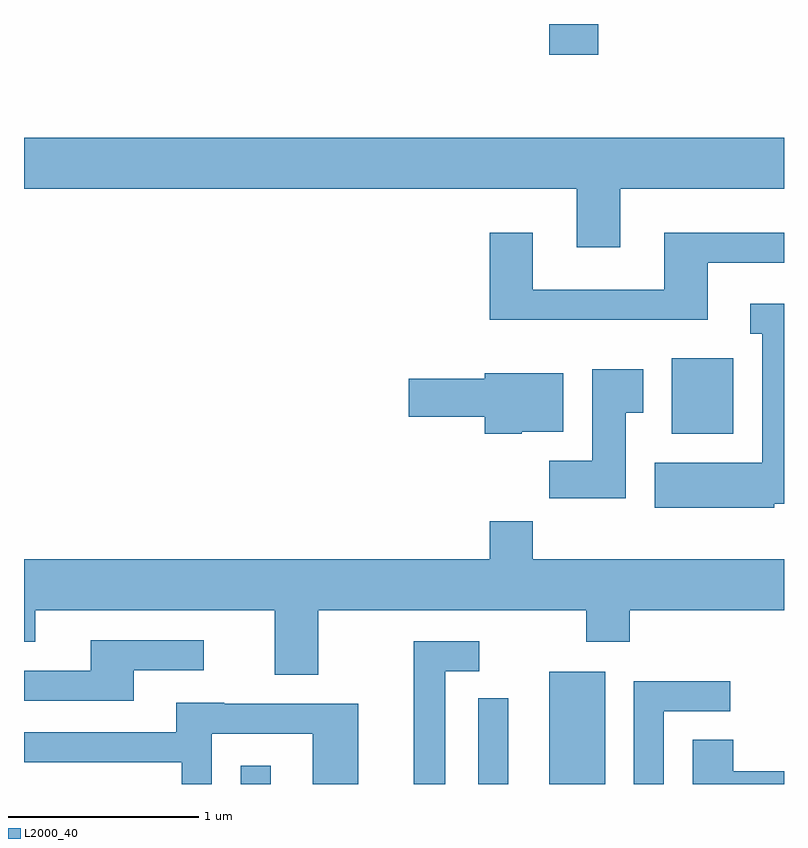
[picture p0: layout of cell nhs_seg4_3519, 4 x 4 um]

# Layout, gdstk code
import gdstk
lib = gdstk.Library(unit=1e-6, precision=1e-09)
def R(c, l, rs):  # rectangles x0, y0, x1, y1
    for r in rs: c.add(gdstk.rectangle(r[:2], r[2:], *l))
def P(c, l, *ps):  # polygons
    for p in ps: c.add(gdstk.Polygon(p, *l))
L2000_40 = (2000, 40)

nhs_seg4_3519 = lib.new_cell('nhs_seg4_3519')
R(nhs_seg4_3519, L2000_40, [(288.751,1355.982,288.909,1356.078), (290.001,1355.982,290.159,1356.433), (290.376,1355.982,290.669,1356.574), (291.021,1357.826,291.344,1358.224), (290.376,1359.821,290.634,1359.982)])
P(nhs_seg4_3519, L2000_40, [(290.749,1359.116),(291.611,1359.116),(291.611,1359.384),(287.611,1359.384),(287.611,1359.116),(290.521,1359.116),(290.521,1358.806),(290.749,1358.806)],
  [(291.209,1358.726),(291.611,1358.726),(291.611,1358.884),(290.981,1358.884),(290.981,1358.584),(290.289,1358.584),(290.289,1358.884),(290.061,1358.884),(290.061,1358.426),(291.209,1358.426)],
  [(291.559,1357.456),(291.611,1357.456),(291.611,1358.509),(291.433,1358.509),(291.433,1358.351),(291.496,1358.351),(291.496,1357.674),(290.931,1357.674),(290.931,1357.436),(291.559,1357.436)],
  [(290.779,1357.936),(290.869,1357.936),(290.869,1358.164),(290.601,1358.164),(290.601,1357.684),(290.376,1357.684),(290.376,1357.486),(290.779,1357.486)],
  [(290.23,1357.836),(290.449,1357.836),(290.449,1358.144),(290.036,1358.144),(290.036,1358.114),(289.636,1358.114),(289.636,1357.916),(290.036,1357.916),(290.036,1357.826),(290.23,1357.826)],
  [(289.159,1356.896),(290.571,1356.896),(290.571,1356.731),(290.799,1356.731),(290.799,1356.896),(291.611,1356.896),(291.611,1357.164),(290.289,1357.164),(290.289,1357.364),(290.061,1357.364),(290.061,1357.164),(287.611,1357.164),(287.611,1356.731),(287.669,1356.731),(287.669,1356.896),(288.931,1356.896),(288.931,1356.556),(289.159,1356.556)],
  [(288.189,1356.581),(288.558,1356.581),(288.558,1356.739),(287.961,1356.739),(287.961,1356.579),(287.611,1356.579),(287.611,1356.421),(288.189,1356.421)],
  [(289.829,1356.576),(290.008,1356.576),(290.008,1356.734),(289.661,1356.734),(289.661,1355.982),(289.829,1355.982)],
  [(290.979,1356.366),(291.328,1356.366),(291.328,1356.524),(290.821,1356.524),(290.821,1355.982),(290.979,1355.982)],
  [(288.599,1356.246),(289.131,1356.246),(289.131,1355.982),(289.369,1355.982),(289.369,1356.404),(288.665,1356.404),(288.665,1356.409),(288.411,1356.409),(288.411,1356.254),(287.611,1356.254),(287.611,1356.096),(288.441,1356.096),(288.441,1355.982),(288.599,1355.982)],
  [(291.611,1356.049),(291.344,1356.049),(291.344,1356.214),(291.131,1356.214),(291.131,1355.982),(291.611,1355.982)])

lib.write_gds('nhs_seg4_3519.gds')
